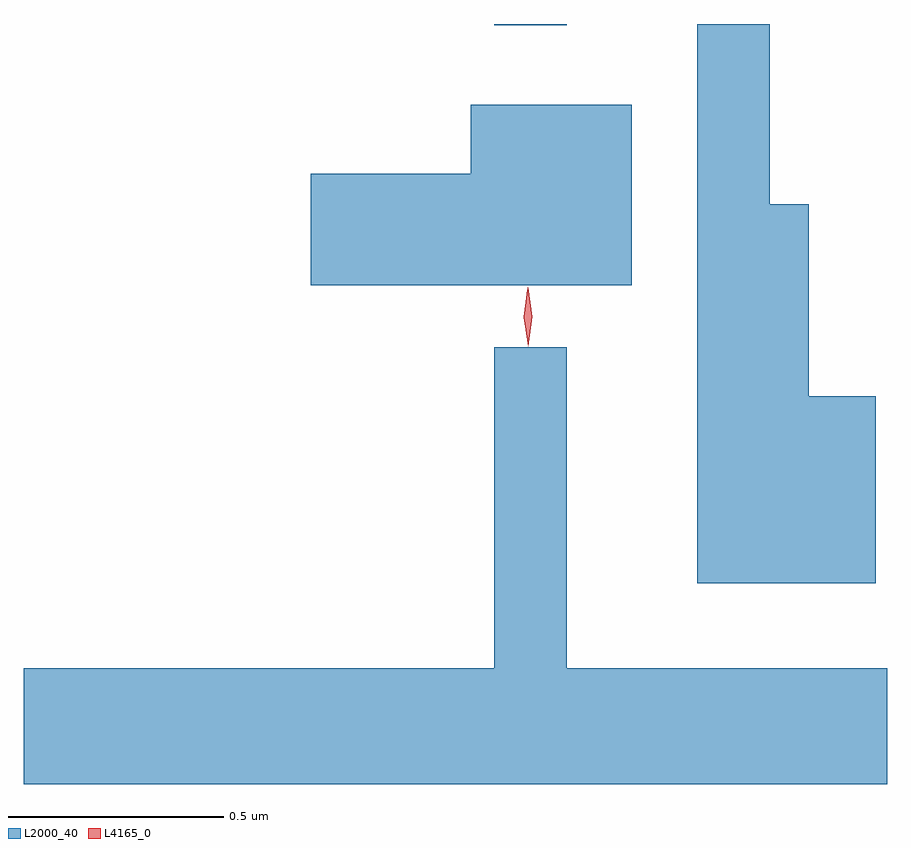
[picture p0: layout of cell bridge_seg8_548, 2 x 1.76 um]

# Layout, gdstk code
import gdstk
lib = gdstk.Library(unit=1e-6, precision=1e-09)
def R(c, l, rs):  # rectangles x0, y0, x1, y1
    for r in rs: c.add(gdstk.rectangle(r[:2], r[2:], *l))
def P(c, l, *ps):  # polygons
    for p in ps: c.add(gdstk.Polygon(p, *l))
L2000_40 = (2000, 40)
L4165_0 = (4165, 0)

bridge_seg8_548 = lib.new_cell('bridge_seg8_548')
R(bridge_seg8_548, L2000_40, [(418.111,1867.033,418.279,1867.036)])
P(bridge_seg8_548, L2000_40, [(418.994,1866.174),(418.839,1866.174),(418.839,1866.619),(418.749,1866.619),(418.749,1867.036),(418.581,1867.036),(418.581,1865.741),(418.994,1865.741)],
  [(418.429,1866.849),(418.056,1866.849),(418.056,1866.689),(417.686,1866.689),(417.686,1866.431),(418.429,1866.431)],
  [(419.021,1865.544),(418.279,1865.544),(418.279,1866.288),(418.111,1866.288),(418.111,1865.544),(417.021,1865.544),(417.021,1865.276),(419.021,1865.276)])
P(bridge_seg8_548, L4165_0, [(418.189,1866.29),(418.189,1866.29),(418.179,1866.358),(418.188,1866.425),(418.188,1866.426),(418.189,1866.425),(418.199,1866.358),(418.19,1866.29)],
  [(418.189,1866.293),(418.189,1866.293),(418.179,1866.356),(418.187,1866.419),(418.188,1866.42),(418.188,1866.419),(418.198,1866.356),(418.19,1866.293)])

lib.write_gds('bridge_seg8_548.gds')
